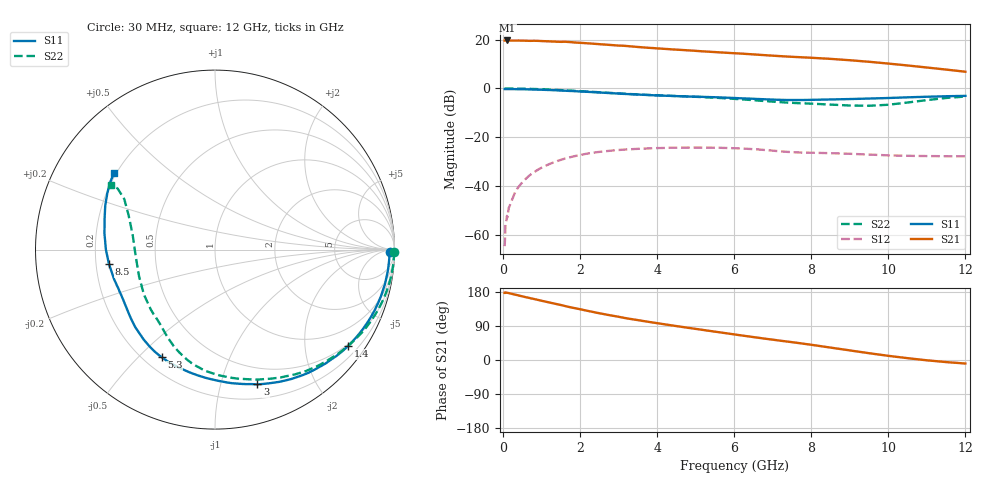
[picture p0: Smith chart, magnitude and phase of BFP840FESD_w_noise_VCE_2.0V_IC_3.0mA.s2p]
! Infineon Technologies  Discrete & RF Semiconductors
! BFP840FESD
! VCE =  2.0 V,  IC =  3.0 mA
! Common Emitter S-Parameters:  May 2012
# GHz  S  MA  R  50
!  f  S11  S21  S12  S22
! GHz  MAG  ANG  MAG  ANG  MAG  ANG  MAG  ANG
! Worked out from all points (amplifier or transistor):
!   103 points, 30 MHz to 12 GHz, reference 50 ohm
!   highest |S21| = 19.6 dB at 100 MHz (marker M1)
!   |S21| within 3 dB of that: start of sweep to 3.769 GHz
!   unconditionally stable (mu >= 1): 7.639 GHz to end of sweep
!   at 400 MHz: K = 0.03, MSG = 29.8 dB, |S12| = -40.1 dB
!   at 3.7 GHz: K = 0.26, MSG = 20.6 dB, |S12| = -24.5 dB
!   at 12 GHz: K = 1.38, MAG = 13.6 dB, |S12| = -27.7 dB
!   lowest NFmin = 0.51 dB at 450 MHz
!   S11 on the Smith chart (normalised r, x): 30 MHz: 57, -29; 1.4 GHz: 0.45, -3.03; 3 GHz: 0.33, -1.31; 5.3 GHz: 0.27, -0.59; 8.5 GHz: 0.25, -0.06; 12 GHz: 0.19, +0.32
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0.03  0.9726 -0.8  9.511 177.0  0.0006 37.9  0.9968 -0.7
0.04  0.9724 -1.1  9.502 176.9  0.0008 72.4  0.9972 -0.9
0.05  0.9716 -1.3  9.536 178.3  0.0015 95.7  0.9987 -1.1
0.1  0.9723 -2.6  9.57 177.3  0.0023 82.4  0.9975 -2.2
0.14  0.9717 -3.6  9.53 176.5  0.0037 81.8  0.9973 -3.1
0.35  0.9678 -9.1  9.521 171.4  0.0088 81.8  0.9935 -7.8
0.8  0.9518 -20.7  9.438 160.8  0.0196 74.5  0.9749 -17.8
1.4  0.9162 -35.8  9.002 147.1  0.033 62.5  0.9331 -31.2
1.7  0.891 -43.4  8.897 140.0  0.0388 56.6  0.9067 -38.0
2.1  0.861 -52.9  8.464 131.5  0.0455 49.2  0.8712 -46.8
2.5  0.8273 -61.9  8.029 123.2  0.0507 42.3  0.8357 -55.1
3  0.7874 -72.5  7.516 113.9  0.0554 34.8  0.7921 -64.6
3.2  0.7699 -76.8  7.373 110.0  0.0568 31.9  0.7761 -68.2
4.1  0.7162 -94.2  6.511 95.5  0.0607 21.3  0.721 -82.4
4.7  0.6897 -105.8  6.075 86.4  0.0619 15.3  0.6901 -90.9
5.3  0.6689 -116.4  5.661 77.6  0.0619 9.6  0.6583 -98.8
6.1  0.6329 -130.4  5.203 66.0  0.0598 2.5  0.6056 -109.3
7.1  0.5882 -147.7  4.622 52.2  0.0527 -3.1  0.531 -122.9
8.5  0.5962 -172.2  4.023 32.7  0.0476 -1.2  0.4684 -147.8
9.5  0.6224 171.7  3.509 17.9  0.0446 -0.3  0.4433 -175.1
10.5  0.6591 158.1  2.949 4.8  0.0421 4.0  0.5168 158.5
12  0.7058 143.0  2.197 -9.3  0.0411 13.3  0.6842 148.1
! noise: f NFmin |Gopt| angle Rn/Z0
0.45  0.51  0.62  7  0.22
0.9  0.57  0.59  13  0.22
1.5  0.62  0.54  20  0.21
1.9  0.64  0.5  28  0.21
2.4  0.67  0.47  35  0.22
3.5  0.69  0.45  54  0.2
5.5  0.79  0.34  90  0.15
8  1.02  0.29  149  0.12
10  1.24  0.31  -165  0.11
12  1.41  0.48  -132  0.14
